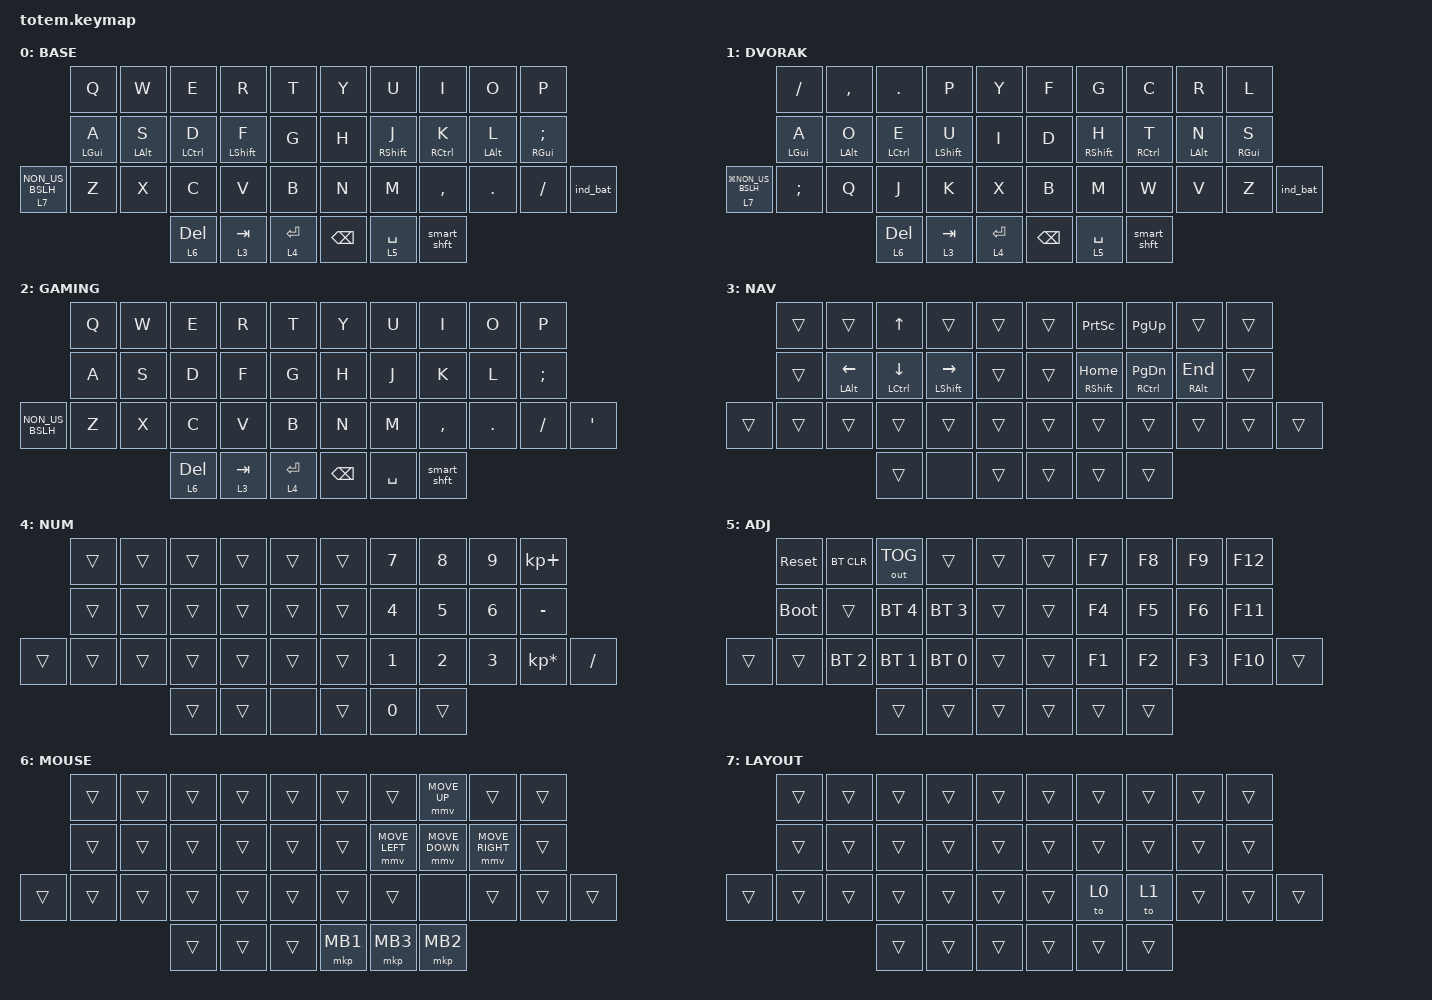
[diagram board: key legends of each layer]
#include "zmk-helpers/helper.h"
#include "zmk-helpers/key-labels/totem.h"                                       // key-position labels
#include <behaviors/rgbled_widget.dtsi>
#include <behaviors.dtsi>
#include <dt-bindings/zmk/bt.h>
#include <dt-bindings/zmk/keys.h>
#include <dt-bindings/zmk/outputs.h>
#include <dt-bindings/zmk/pointing.h>

#define KEYS_L LT0 LT1 LT2 LT3 LT4 LM0 LM1 LM2 LM3 LM4 LB0 LB1 LB2 LB3 LB4 LB5  // left-hand keys
#define KEYS_R RT0 RT1 RT2 RT3 RT4 RM0 RM1 RM2 RM3 RM4 RB0 RB1 RB2 RB3 RB4 RB5  // right-hand keys
#define THUMBS LH2 LH1 LH0 RH0 RH1 RH2                                          // thumb keys

&mt {
    quick-tap-ms = <100>;
    global-quick-tap;
    flavor = "tap-preferred";
    tapping-term-ms = <170>;
};

&sk {
    quick-release;
    release-after-ms = <900>;
};

&caps_word {
    no-default-keys;
    continue-list = <UNDERSCORE BACKSPACE DELETE SQT MINUS>;
    shift-list =
        <R T Y U I O P>,
        <A S D F G H J K L SEMICOLON>,
        <X C V B N M COMMA PERIOD SLASH>;
};

/ {
    combos {
        compatible = "zmk,combos";

        mwheel_up {
            bindings = <&msc MOVE_Y(20)>;
            key-positions = <6 8>;
        };

        mwheel_down {
            bindings = <&msc MOVE_Y(-20)>;
            key-positions = <27 29>;
        };

        combo_esc {
            timeout-ms = <50>;
            key-positions = <0 1>;
            bindings = <&kp ESC>;
        };

        exclamation {
            bindings = <&kp EXCLAMATION>;
            key-positions = <1 2>;
        };

        semicolon {
            bindings = <&kp Z>;
            key-positions = <2 3>;
            layers = <0 2 4>;
        };

        dollar {
            bindings = <&kp DOLLAR>;
            key-positions = <1 11>;
        };

        lpar {
            bindings = <&kp LEFT_PARENTHESIS>;
            key-positions = <2 12>;
        };

        lbrace {
            bindings = <&kp LEFT_BRACE>;
            key-positions = <3 13>;
        };

        times {
            bindings = <&kp ASTERISK>;
            key-positions = <4 14>;
        };

        tilde {
            bindings = <&hml LA(LCTRL) PIPE>;
            key-positions = <11 12>;
            timeout-ms = <16>;
        };

        eq {
            bindings = <&hml LC(LSHFT) EQUAL>;
            key-positions = <12 13>;
            timeout-ms = <16>;
        };

        hash {
            bindings = <&kp NON_US_HASH>;
            key-positions = <14 25>;
        };

        lbrac {
            bindings = <&kp LEFT_BRACKET>;
            key-positions = <12 23>;
        };

        lt {
            bindings = <&kp LS(W)>;
            key-positions = <13 24>;
            layers = <0 2 4>;
        };

        pipe {
            bindings = <&kp LS(NON_US_BSLH)>;
            key-positions = <11 22>;
        };

        colon {
            bindings = <&kp LS(Z)>;
            key-positions = <23 24>;
            layers = <0 2 4>;
        };

        apos {
            bindings = <&kp SQT>;
            key-positions = <6 7>;
        };

        quote {
            bindings = <&kp AT>;
            key-positions = <7 8>;
            timeout-ms = <16>;
        };

        plus {
            bindings = <&kp PLUS>;
            key-positions = <5 15>;
        };

        rbrace {
            bindings = <&kp RIGHT_BRACE>;
            key-positions = <6 16>;
        };

        rpar {
            bindings = <&kp RIGHT_PARENTHESIS>;
            key-positions = <7 17>;
        };

        caret {
            bindings = <&kp CARET>;
            key-positions = <8 18>;
        };

        hyphen {
            bindings = <&hmr RS(RCTRL) MINUS>;
            key-positions = <16 17>;
            timeout-ms = <16>;
        };

        at {
            bindings = <&hmr RC(RALT) DOUBLE_QUOTES>;
            key-positions = <17 18>;
            timeout-ms = <16>;
        };

        gt {
            bindings = <&kp LS(E)>;
            key-positions = <16 27>;
            layers = <0 2 4>;
        };

        rbrac {
            bindings = <&kp RIGHT_BRACKET>;
            key-positions = <17 28>;
        };

        amp {
            bindings = <&kp AMPS>;
            key-positions = <29 18>;
        };

        underscore {
            bindings = <&kp UNDERSCORE>;
            key-positions = <27 28>;
            timeout-ms = <16>;
        };

        pct {
            bindings = <&kp PERCENT>;
            key-positions = <28 29>;
        };

        bootloader {
            bindings = <&bootloader>;
            key-positions = <32 34 35 37>;
        };

        question {
            bindings = <&kp LS(Q)>;
            key-positions = <22 23>;
            layers = <0 2 4>;
        };

        grave {
            bindings = <&kp GRAVE>;
            key-positions = <8 9>;
        };

        gaming_layer_toggle {
            bindings = <&tog 2>;
            key-positions = <20 31>;
        };

        pound {
            bindings = <&kp LS(NUMBER_3)>;
            key-positions = <26 15>;
        };

        space {
            bindings = <&kp SPACE>;
            key-positions = <22 24>;
        };

        dv_semi {
            bindings = <&kp SEMI>;
            key-positions = <2 3>;
            layers = <1>;
        };

        dv_qmark {
            bindings = <&kp QUESTION>;
            key-positions = <22 23>;
            layers = <1>;
        };

        dv_colon {
            bindings = <&kp COLON>;
            key-positions = <23 24>;
            layers = <1>;
        };

        dv_lt {
            bindings = <&kp LESS_THAN>;
            key-positions = <13 24>;
            layers = <1>;
        };

        dv_gt {
            bindings = <&kp GT>;
            key-positions = <16 27>;
            layers = <1>;
        };
    };

    behaviors {
        hml: hml {
            compatible = "zmk,behavior-hold-tap";
            label = "HML";
            bindings = <&kp>, <&kp>;

            #binding-cells = <2>;
            tapping-term-ms = <200>;
            quick-tap-ms = <175>;
            require-prior-idle-ms = <175>;
            flavor = "tap-preferred";
            hold-trigger-key-positions = <KEYS_R THUMBS>;
            hold-trigger-on-release;
        };

        hmr: hmr {
            compatible = "zmk,behavior-hold-tap";
            label = "HMR";
            bindings = <&kp>, <&kp>;

            #binding-cells = <2>;
            tapping-term-ms = <200>;
            quick-tap-ms = <175>;
            require-prior-idle-ms = <175>;
            flavor = "tap-preferred";
            hold-trigger-key-positions = <KEYS_L THUMBS>;
            hold-trigger-on-release;
        };

        smart_shft: smart_shft {
            compatible = "zmk,behavior-mod-morph";
            label = "SMART_SHFT";
            bindings = <&sk LSHFT>, <&caps_word>;

            #binding-cells = <0>;
            mods = <(MOD_LSFT)>;
        };
    };

    keymap {
        compatible = "zmk,keymap";

        base_layer {
            label = "BASE";
            bindings = <
                 &kp Q        &kp W        &kp E         &kp R         &kp T          &kp Y          &kp U         &kp I         &kp O            &kp P
                 &hml LGUI A  &hml LALT S  &hml LCTRL D  &hml LSHFT F  &kp G          &kp H          &hmr RSHFT J  &hmr RCTRL K  &hmr LEFT_ALT L  &hmr RGUI SEMICOLON
&lt 7 NON_US_BSLH  &kp Z        &kp X        &kp C         &kp V         &kp B          &kp N          &kp M         &kp COMMA     &kp PERIOD       &kp SLASH            &ind_bat
                                             &lt 6 DELETE  &lt 3 TAB     &lt 4 ENTER    &kp BACKSPACE  &lt 5 SPACE   &smart_shft
            >;
        };

        dvorak_layer {
            label = "DVORAK";
            bindings = <
                       &kp SLASH      &kp COMMA    &kp PERIOD    &kp P         &kp Y          &kp F          &kp G         &kp C         &kp R            &kp L
                       &hml LGUI A    &hml LALT O  &hml LCTRL E  &hml LSHFT U  &kp I          &kp D          &hmr RSHFT H  &hmr RCTRL T  &hmr LEFT_ALT N  &hmr RGUI S
&lt 7 LG(NON_US_BSLH)  &kp SEMICOLON  &kp Q        &kp J         &kp K         &kp X          &kp B          &kp M         &kp W         &kp V            &kp Z        &ind_bat
                                                   &lt 6 DELETE  &lt 3 TAB     &lt 4 ENTER    &kp BACKSPACE  &lt 5 SPACE   &smart_shft
            >;
        };

        gaming_layer {
            label = "GAMING";
            bindings = <
                 &kp Q  &kp W  &kp E         &kp R      &kp T          &kp Y          &kp U      &kp I        &kp O       &kp P
                 &kp A  &kp S  &kp D         &kp F      &kp G          &kp H          &kp J      &kp K        &kp L       &kp SEMI
&kp NON_US_BSLH  &kp Z  &kp X  &kp C         &kp V      &kp B          &kp N          &kp M      &kp COMMA    &kp PERIOD  &kp SLASH  &kp SQT
                               &lt 6 DELETE  &lt 3 TAB  &lt 4 ENTER    &kp BACKSPACE  &kp SPACE  &smart_shft
            >;
        };

        nav_layer {
            label = "NAV";
            bindings = <
        &trans  &trans              &kp UP           &trans             &trans    &trans  &kp PRINTSCREEN  &kp PG_UP         &trans         &trans
        &trans  &hml LEFT_ALT LEFT  &hml LCTRL DOWN  &hml LSHIFT RIGHT  &trans    &trans  &hmr RSHFT HOME  &hmr RCTRL PG_DN  &hmr RALT END  &trans
&trans  &trans  &trans              &trans           &trans             &trans    &trans  &trans           &trans            &trans         &trans  &trans
                                    &trans           &none              &trans    &trans  &trans           &trans
            >;
        };

        num_layer {
            label = "NUM";
            bindings = <
        &trans  &trans  &trans  &trans  &trans    &trans  &kp N7        &kp NUMBER_8  &kp NUMBER_9  &kp KP_PLUS
        &trans  &trans  &trans  &trans  &trans    &trans  &kp NUMBER_4  &kp NUMBER_5  &kp NUMBER_6  &kp MINUS
&trans  &trans  &trans  &trans  &trans  &trans    &trans  &kp NUMBER_1  &kp NUMBER_2  &kp NUMBER_3  &kp KP_MULTIPLY  &kp SLASH
                        &trans  &trans  &none     &trans  &kp NUMBER_0  &trans
            >;
        };

        adjust_layer {
            label = "ADJ";
            bindings = <
        &sys_reset   &bt BT_CLR    &out OUT_TOG  &trans        &trans    &trans  &kp F7  &kp F8  &kp F9  &kp F12
        &bootloader  &trans        &bt BT_SEL 4  &bt BT_SEL 3  &trans    &trans  &kp F4  &kp F5  &kp F6  &kp F11
&trans  &trans       &bt BT_SEL 2  &bt BT_SEL 1  &bt BT_SEL 0  &trans    &trans  &kp F1  &kp F2  &kp F3  &kp F10  &trans
                                   &trans        &trans        &trans    &trans  &trans  &trans
            >;
        };

        mouse_layer {
            label = "MOUSE";
            bindings = <
        &trans  &trans  &trans  &trans  &trans    &trans    &trans          &mmv MOVE_UP    &trans           &trans
        &trans  &trans  &trans  &trans  &trans    &trans    &mmv MOVE_LEFT  &mmv MOVE_DOWN  &mmv MOVE_RIGHT  &trans
&trans  &trans  &trans  &trans  &trans  &trans    &trans    &trans          &none           &trans           &trans  &trans
                        &trans  &trans  &trans    &mkp MB1  &mkp MB3        &mkp MB2
            >;
        };

        layout_layer {
            bindings = <
        &trans  &trans  &trans  &trans  &trans    &trans  &trans  &trans  &trans  &trans
        &trans  &trans  &trans  &trans  &trans    &trans  &trans  &trans  &trans  &trans
&trans  &trans  &trans  &trans  &trans  &trans    &trans  &to 0   &to 1   &trans  &trans  &trans
                        &trans  &trans  &trans    &trans  &trans  &trans
            >;

            label = "LAYOUT";
        };
    };
};
